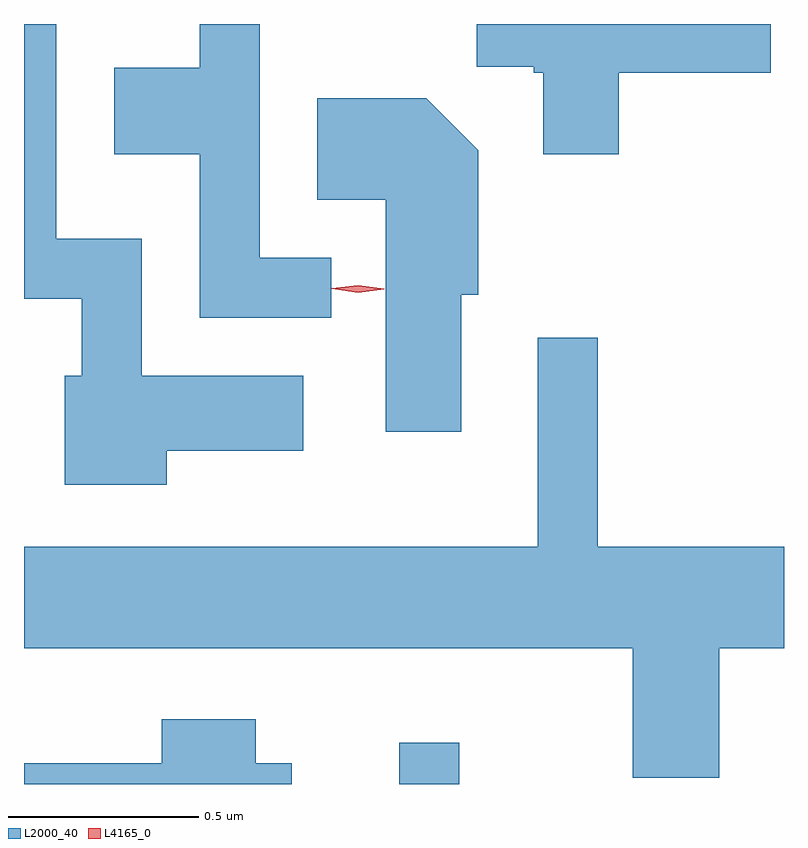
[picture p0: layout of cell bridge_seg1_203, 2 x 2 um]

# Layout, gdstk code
import gdstk
lib = gdstk.Library(unit=1e-6, precision=1e-09)
def R(c, l, rs):  # rectangles x0, y0, x1, y1
    for r in rs: c.add(gdstk.rectangle(r[:2], r[2:], *l))
def P(c, l, *ps):  # polygons
    for p in ps: c.add(gdstk.Polygon(p, *l))
L2000_40 = (2000, 40)
L4165_0 = (4165, 0)

bridge_seg1_203 = lib.new_cell('bridge_seg1_203')
R(bridge_seg1_203, L2000_40, [(662.246,905.879,662.404,905.988)])
P(bridge_seg1_203, L2000_40, [(661.634,906.756),(661.994,906.756),(661.994,906.954),(661.569,906.954),(661.569,907.314),(661.344,907.314),(661.344,907.879),(661.259,907.879),(661.259,907.156),(661.411,907.156),(661.411,906.954),(661.366,906.954),(661.366,906.666),(661.634,906.666)],
  [(662.824,907.751),(663.224,907.751),(663.224,907.879),(662.451,907.879),(662.451,907.766),(662.6,907.766),(662.6,907.751),(662.626,907.751),(662.626,907.536),(662.824,907.536)],
  [(662.068,907.264),(661.879,907.264),(661.879,907.879),(661.721,907.879),(661.721,907.764),(661.496,907.764),(661.496,907.536),(661.721,907.536),(661.721,907.106),(662.068,907.106)],
  [(662.409,907.166),(662.454,907.166),(662.454,907.547),(662.317,907.684),(662.031,907.684),(662.031,907.416),(662.211,907.416),(662.211,906.806),(662.409,906.806)],
  [(663.089,906.236),(663.259,906.236),(663.259,906.504),(662.769,906.504),(662.769,907.053),(662.611,907.053),(662.611,906.504),(661.259,906.504),(661.259,906.236),(662.861,906.236),(662.861,905.896),(663.089,905.896)],
  [(661.964,905.934),(661.869,905.934),(661.869,906.049),(661.621,906.049),(661.621,905.934),(661.259,905.934),(661.259,905.879),(661.964,905.879)])
P(bridge_seg1_203, L4165_0, [(662.138,907.172),(662.069,907.182),(662.068,907.182),(662.069,907.183),(662.138,907.192),(662.207,907.182),(662.207,907.181),(662.207,907.181)])

lib.write_gds('bridge_seg1_203.gds')
